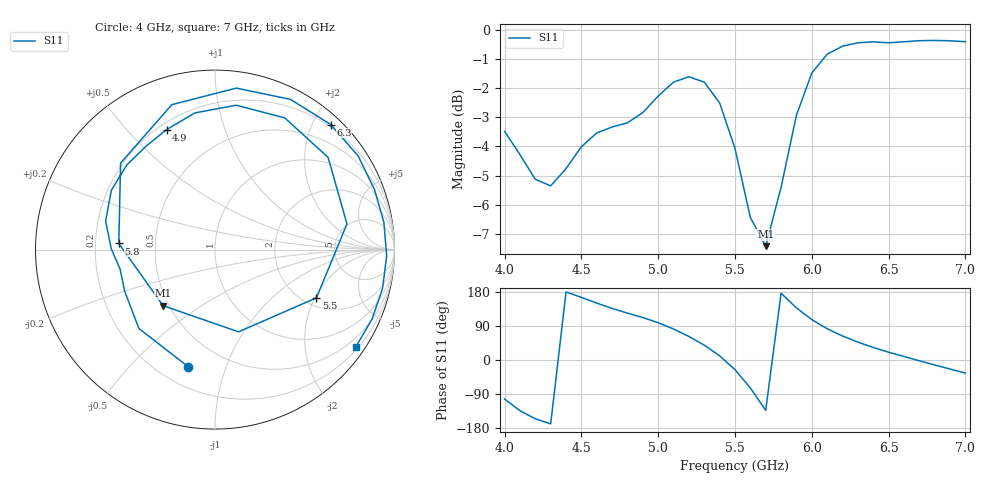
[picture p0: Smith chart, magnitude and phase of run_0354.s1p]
! Touchstone file exported from HFSS 2024.2.0
!  File:  C:/Users/wsak9/Desktop/Sim Fast/Widenad Patch/WP_AI_V1_sweep.aedt
!  Generated:  06:02:49 AM Oct 14, 2026
!  Design:  A1_model
!  Project:  WP_AI_V1_sweep
!  Setup:  Setup1
!  Solution:  Sweep
! Variables:
!  Air_gap = 4.6mm
!  Curve_Amp1 = 3.64
!  Curve_len1 = 1
!  Curve_pos = 12.725mm
!  Extra = 2.02mm
!  H_sub = 0.79mm
!  L_Patch = 21.45mm
!  L_Patch1 = 16.75mm
!  Sx = 1.97mm
!  Sy = 1mm
!  WS = 1.03mm
!  W_Patch = 22.77mm
!  W_Patch1 = 14.73mm
!Data is not renormalized
# GHz S MA
! Terminal data exported
! Port[1] = 1
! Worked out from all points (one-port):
!   31 points, 4 GHz to 7 GHz, reference per port
!   lowest |S11| = -7.4 dB at 5.7 GHz (marker M1), VSWR 2.48
!   |S11| at or under -10 dB: nowhere
!   S11 on the Smith chart (normalised r, x): 4 GHz: 0.32, -0.75; 4.9 GHz: 0.23, +0.65; 5.5 GHz: 2.33, -2.06; 5.8 GHz: 0.30, +0.03; 6.3 GHz: 0.16, +2.28; 7 GHz: 0.27, -3.20
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4  0.6694 -102.9
4.1  0.6108 -134.0
4.2  0.5541 -155.2
4.3  0.54 -168.5
4.4  0.5781 179.5
4.5  0.6302 165.2
4.6  0.6653 150.2
4.8  0.6924 123.7
4.9  0.7209 111.9
5  0.7696 98.4
5.1  0.813 81.7
5.2  0.8305 62.1
5.3  0.8129 39.1
5.4  0.7489 11.0
5.5  0.6259 -25.4
5.6  0.4767 -74.0
5.7  0.4258 -132.8
5.8  0.5371 176.4
5.9  0.7134 137.5
6  0.8425 106.6
6.1  0.9076 82.5
6.2  0.9367 63.3
6.3  0.9493 47.2
6.4  0.953 33.1
6.5  0.9494 20.6
6.7  0.9573 -2.1
6.8  0.9581 -13.1
7  0.9534 -34.5
